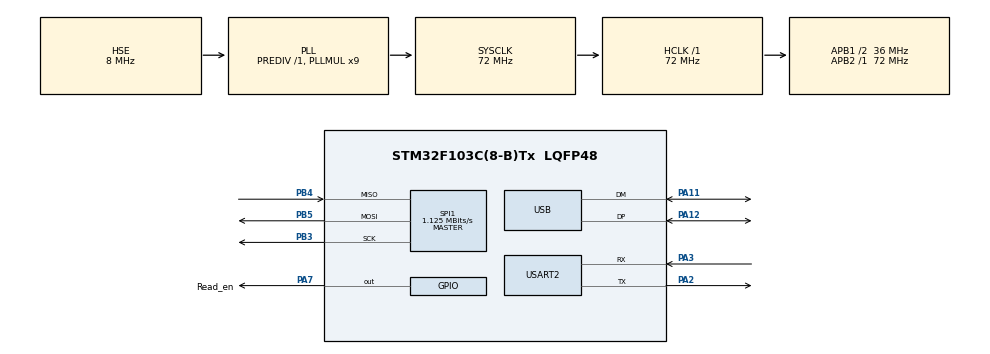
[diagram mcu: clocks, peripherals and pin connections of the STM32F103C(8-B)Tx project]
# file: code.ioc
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Mcu.Family=STM32F1
Mcu.Name=STM32F103C(8-B)Tx
Mcu.Package=LQFP48
NVIC.PriorityGroup=NVIC_PRIORITYGROUP_4
NVIC.USB_LP_CAN1_RX0_IRQn=true\:0\:0\:false\:false\:true\:false\:true\:true
PA11.Mode=Device
PA11.Signal=USB_DM
PA12.Mode=Device
PA12.Signal=USB_DP
PA13.Mode=Serial_Wire
PA13.Signal=SYS_JTMS-SWDIO
PA14.Mode=Serial_Wire
PA14.Signal=SYS_JTCK-SWCLK
PA2.Mode=Asynchronous
PA2.Signal=USART2_TX
PA3.Mode=Asynchronous
PA3.Signal=USART2_RX
PA7.GPIO_Label=Read_en
PA7.PinState=GPIO_PIN_SET
PA7.Signal=GPIO_Output
PB3.Mode=Full_Duplex_Master
PB3.Signal=SPI1_SCK
PB4.Mode=Full_Duplex_Master
PB4.Signal=SPI1_MISO
PB5.Mode=Full_Duplex_Master
PB5.Signal=SPI1_MOSI
PD0-OSC_IN.Mode=HSE-External-Oscillator
PD0-OSC_IN.Signal=RCC_OSC_IN
PD1-OSC_OUT.Mode=HSE-External-Oscillator
PD1-OSC_OUT.Signal=RCC_OSC_OUT
ProjectManager.HeapSize=0x200
ProjectManager.StackSize=0x400
ProjectManager.TargetToolchain=CMake
RCC.AHBFreq_Value=72000000
RCC.APB1CLKDivider=RCC_HCLK_DIV2
RCC.APB1Freq_Value=36000000
RCC.APB1TimFreq_Value=72000000
RCC.APB2Freq_Value=72000000
RCC.APB2TimFreq_Value=72000000
RCC.HCLKFreq_Value=72000000
RCC.PLLMUL=RCC_PLL_MUL9
RCC.PLLSourceVirtual=RCC_PLLSOURCE_HSE
RCC.SYSCLKFreq_VALUE=72000000
RCC.SYSCLKSource=RCC_SYSCLKSOURCE_PLLCLK
RCC.USBFreq_Value=48000000
RCC.USBPrescaler=RCC_USBCLKSOURCE_PLL_DIV1_5
SPI1.BaudRatePrescaler=SPI_BAUDRATEPRESCALER_64
SPI1.CLKPhase=SPI_PHASE_1EDGE
SPI1.CalculateBaudRate=1.125 MBits/s
SPI1.Direction=SPI_DIRECTION_2LINES
SPI1.Mode=SPI_MODE_MASTER
SPI1.VirtualType=VM_MASTER
USART2.VirtualMode=VM_ASYNC
USB_DEVICE.CLASS_NAME_FS=HID
USB_DEVICE.VirtualMode=Hid
USB_DEVICE.VirtualModeFS=Hid_FS
VP_USB_DEVICE_VS_USB_DEVICE_HID_FS.Mode=HID_FS
board=custom

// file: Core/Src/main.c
/* USER CODE BEGIN Header */
/**
  ******************************************************************************
  * @file           : main.c
  * @brief          : Main program body
  ******************************************************************************
  * @attention
  *
  * Copyright (c) 2026 STMicroelectronics.
  * All rights reserved.
  *
  * This software is licensed under terms that can be found in the LICENSE file
  * in the root directory of this software component.
  * If no LICENSE file comes with this software, it is provided AS-IS.
  *
  ******************************************************************************
  */
/* USER CODE END Header */
#include "main.h"
#include "usb_device.h"

/* USER CODE BEGIN Includes */
#include "usbd_keyboard.h"
#include <stdint.h>
/* USER CODE END Includes */

SPI_HandleTypeDef hspi1;

UART_HandleTypeDef huart2;

/* USER CODE BEGIN PV */
extern USBD_HandleTypeDef hUsbDeviceFS;
/* USER CODE END PV */

void SystemClock_Config(void);
static void MX_GPIO_Init(void);
static void MX_USART2_UART_Init(void);
static void MX_SPI1_Init(void);

int main(void)
{

  /* MCU Configuration--------------------------------------------------------*/

  /* Reset of all peripherals, Initializes the Flash interface and the Systick. */
  HAL_Init();

  /* Configure the system clock */
  SystemClock_Config();

  /* Initialize all configured peripherals */
  MX_GPIO_Init();
  MX_USART2_UART_Init();
  MX_SPI1_Init();
  MX_USB_DEVICE_Init();

  /* Infinite loop */
  /* USER CODE BEGIN WHILE */
  while (1)
  {
    HAL_GPIO_WritePin(GPIOA, GPIO_PIN_7, GPIO_PIN_RESET);
    __NOP();
    HAL_GPIO_WritePin(GPIOA, GPIO_PIN_7, GPIO_PIN_SET);

    uint8_t data[3] = {0};
    uint8_t tx[3] = {0xFF, 0xFF, 0xFF};
    HAL_SPI_TransmitReceive(&hspi1, tx, data, 3, 10);

    /* data[0] is touch data; only data[1..2] are keyboard keys. */
    uint16_t pressed = (uint16_t)~((uint16_t)data[1] |
                                   ((uint16_t)data[2] << 8));
    uint8_t keyboard_report[8] = {0};

    for (uint8_t key = 0U, slot = 2U; (key < 16U) && (slot < 8U); ++key)
    {
      if ((pressed & (1UL << key)) != 0U)
      {
        keyboard_report[slot++] = (uint8_t)(0x04U + key);
      }
    }

    USBD_KEYBOARD_SendReport(&hUsbDeviceFS, keyboard_report, sizeof(keyboard_report));
    HAL_Delay(0);
    /* USER CODE END WHILE */

  }
}

void SystemClock_Config(void)
{
  RCC_OscInitTypeDef RCC_OscInitStruct = {0};
  RCC_ClkInitTypeDef RCC_ClkInitStruct = {0};
  RCC_PeriphCLKInitTypeDef PeriphClkInit = {0};

  /** Initializes the RCC Oscillators according to the specified parameters
  * in the RCC_OscInitTypeDef structure.
  */
  RCC_OscInitStruct.OscillatorType = RCC_OSCILLATORTYPE_HSE;
  RCC_OscInitStruct.HSEState = RCC_HSE_ON;
  RCC_OscInitStruct.HSEPredivValue = RCC_HSE_PREDIV_DIV1;
  RCC_OscInitStruct.HSIState = RCC_HSI_ON;
  RCC_OscInitStruct.PLL.PLLState = RCC_PLL_ON;
  RCC_OscInitStruct.PLL.PLLSource = RCC_PLLSOURCE_HSE;
  RCC_OscInitStruct.PLL.PLLMUL = RCC_PLL_MUL9;
  if (HAL_RCC_OscConfig(&RCC_OscInitStruct) != HAL_OK)
  {
    Error_Handler();
  }

  /** Initializes the CPU, AHB and APB buses clocks
  */
  RCC_ClkInitStruct.ClockType = RCC_CLOCKTYPE_HCLK|RCC_CLOCKTYPE_SYSCLK
                              |RCC_CLOCKTYPE_PCLK1|RCC_CLOCKTYPE_PCLK2;
  RCC_ClkInitStruct.SYSCLKSource = RCC_SYSCLKSOURCE_PLLCLK;
  RCC_ClkInitStruct.AHBCLKDivider = RCC_SYSCLK_DIV1;
  RCC_ClkInitStruct.APB1CLKDivider = RCC_HCLK_DIV2;
  RCC_ClkInitStruct.APB2CLKDivider = RCC_HCLK_DIV1;

  if (HAL_RCC_ClockConfig(&RCC_ClkInitStruct, FLASH_LATENCY_2) != HAL_OK)
  {
    Error_Handler();
  }
  PeriphClkInit.PeriphClockSelection = RCC_PERIPHCLK_USB;
  PeriphClkInit.UsbClockSelection = RCC_USBCLKSOURCE_PLL_DIV1_5;
  if (HAL_RCCEx_PeriphCLKConfig(&PeriphClkInit) != HAL_OK)
  {
    Error_Handler();
  }
}

static void MX_SPI1_Init(void)
{

  /* SPI1 parameter configuration*/
  hspi1.Instance = SPI1;
  hspi1.Init.Mode = SPI_MODE_MASTER;
  hspi1.Init.Direction = SPI_DIRECTION_2LINES;
  hspi1.Init.DataSize = SPI_DATASIZE_8BIT;
  hspi1.Init.CLKPolarity = SPI_POLARITY_LOW;
  hspi1.Init.CLKPhase = SPI_PHASE_1EDGE;
  hspi1.Init.NSS = SPI_NSS_SOFT;
  hspi1.Init.BaudRatePrescaler = SPI_BAUDRATEPRESCALER_64;
  hspi1.Init.FirstBit = SPI_FIRSTBIT_MSB;
  hspi1.Init.TIMode = SPI_TIMODE_DISABLE;
  hspi1.Init.CRCCalculation = SPI_CRCCALCULATION_DISABLE;
  hspi1.Init.CRCPolynomial = 10;
  if (HAL_SPI_Init(&hspi1) != HAL_OK)
  {
    Error_Handler();
  }

}

static void MX_USART2_UART_Init(void)
{

  huart2.Instance = USART2;
  huart2.Init.BaudRate = 115200;
  huart2.Init.WordLength = UART_WORDLENGTH_8B;
  huart2.Init.StopBits = UART_STOPBITS_1;
  huart2.Init.Parity = UART_PARITY_NONE;
  huart2.Init.Mode = UART_MODE_TX_RX;
  huart2.Init.HwFlowCtl = UART_HWCONTROL_NONE;
  huart2.Init.OverSampling = UART_OVERSAMPLING_16;
  if (HAL_UART_Init(&huart2) != HAL_OK)
  {
    Error_Handler();
  }

}

static void MX_GPIO_Init(void)
{
  GPIO_InitTypeDef GPIO_InitStruct = {0};

  /* GPIO Ports Clock Enable */
  __HAL_RCC_GPIOD_CLK_ENABLE();
  __HAL_RCC_GPIOA_CLK_ENABLE();
  __HAL_RCC_GPIOB_CLK_ENABLE();

  /*Configure GPIO pin Output Level */
  HAL_GPIO_WritePin(Read_en_GPIO_Port, Read_en_Pin, GPIO_PIN_SET);

  /*Configure GPIO pin : Read_en_Pin */
  GPIO_InitStruct.Pin = Read_en_Pin;
  GPIO_InitStruct.Mode = GPIO_MODE_OUTPUT_PP;
  GPIO_InitStruct.Pull = GPIO_NOPULL;
  GPIO_InitStruct.Speed = GPIO_SPEED_FREQ_LOW;
  HAL_GPIO_Init(Read_en_GPIO_Port, &GPIO_InitStruct);

}

void Error_Handler(void)
{
  __disable_irq();
  while (1)
  {
  }
}
